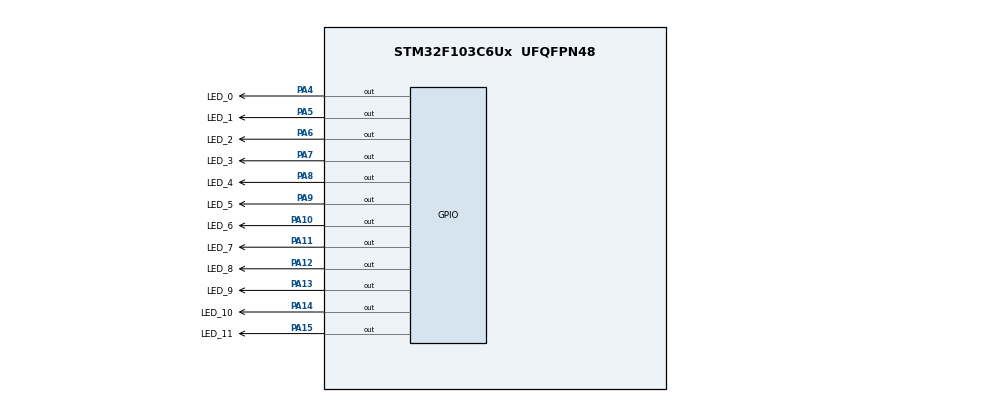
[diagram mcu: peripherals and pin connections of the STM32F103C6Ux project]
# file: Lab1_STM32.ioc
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Mcu.Family=STM32F1
Mcu.Name=STM32F103C6Ux
Mcu.Package=UFQFPN48
NVIC.PriorityGroup=NVIC_PRIORITYGROUP_4
NVIC.TIM2_IRQn=true\:0\:0\:false\:false\:true\:true\:true
PA10.GPIO_Label=LED_6
PA10.Signal=GPIO_Output
PA11.GPIO_Label=LED_7
PA11.Signal=GPIO_Output
PA12.GPIO_Label=LED_8
PA12.Signal=GPIO_Output
PA13.GPIO_Label=LED_9
PA13.Signal=GPIO_Output
PA14.GPIO_Label=LED_10
PA14.Signal=GPIO_Output
PA15.GPIO_Label=LED_11
PA15.Signal=GPIO_Output
PA4.GPIO_Label=LED_0
PA4.Signal=GPIO_Output
PA5.GPIO_Label=LED_1
PA5.Signal=GPIO_Output
PA6.GPIO_Label=LED_2
PA6.Signal=GPIO_Output
PA7.GPIO_Label=LED_3
PA7.Signal=GPIO_Output
PA8.GPIO_Label=LED_4
PA8.Signal=GPIO_Output
PA9.GPIO_Label=LED_5
PA9.Signal=GPIO_Output
ProjectManager.HeapSize=0x200
ProjectManager.StackSize=0x400
ProjectManager.TargetToolchain=STM32CubeIDE
RCC.APB1Freq_Value=8000000
RCC.APB2Freq_Value=8000000
TIM2.Period=9
TIM2.Prescaler=7999
VP_SYS_VS_ND.Mode=No_Debug
VP_TIM2_VS_ClockSourceINT.Mode=Internal
board=custom

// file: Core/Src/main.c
/* USER CODE BEGIN Header */
/**
  ******************************************************************************
  * @file           : main.c
  * @brief          : Main program body
  ******************************************************************************
  * @attention
  *
  * <h2><center>&copy; Copyright (c) 2024 STMicroelectronics.
  * All rights reserved.</center></h2>
  *
  * This software component is licensed by ST under BSD 3-Clause license,
  * the "License"; You may not use this file except in compliance with the
  * License. You may obtain a copy of the License at:
  *                        opensource.org/licenses/BSD-3-Clause
  *
  ******************************************************************************
  */
/* USER CODE END Header */
#include "main.h"

/* USER CODE BEGIN Includes */
#include "clock_function.h"
#include "software_timer.h"
/* USER CODE END Includes */

/* USER CODE BEGIN PD */
#define duration 1
/* USER CODE END PD */

TIM_HandleTypeDef htim2;

void SystemClock_Config(void);
static void MX_GPIO_Init(void);
static void MX_TIM2_Init(void);

int main(void)
{

  /* MCU Configuration--------------------------------------------------------*/

  /* Reset of all peripherals, Initializes the Flash interface and the Systick. */
  HAL_Init();

  /* Configure the system clock */
  SystemClock_Config();

  /* Initialize all configured peripherals */
  MX_GPIO_Init();
  MX_TIM2_Init();
  /* USER CODE BEGIN 2 */
  int currentSecond = 0;
  int currentMinute = 0;
  int currentHour = 0;
  setTimer0(duration);
  /* USER CODE END 2 */

  /* Infinite loop */
  /* USER CODE BEGIN WHILE */
  while (1)
  {
	  if (timer0_flag == 1) {
		  currentSecond ++;
		  if (currentSecond >= 60) {
			  currentSecond = 0;
			  currentMinute ++;
		  }
		  if (currentMinute >= 60) {
			  currentMinute = 0;
			  currentHour ++;
		  }
		  if (currentHour >= 12) {
			  currentHour = 0;
		  }
		  setTimer0(duration);
	  }
	  clearAllClock();
	  setNumberOnClock(currentSecond / 5);
	  setNumberOnClock(currentMinute / 5);
	  setNumberOnClock(currentHour);
	  runTimer();
	  HAL_Delay(1000);
    /* USER CODE END WHILE */

  }
}

void SystemClock_Config(void)
{
  RCC_OscInitTypeDef RCC_OscInitStruct = {0};
  RCC_ClkInitTypeDef RCC_ClkInitStruct = {0};

  /** Initializes the RCC Oscillators according to the specified parameters
  * in the RCC_OscInitTypeDef structure.
  */
  RCC_OscInitStruct.OscillatorType = RCC_OSCILLATORTYPE_HSI;
  RCC_OscInitStruct.HSIState = RCC_HSI_ON;
  RCC_OscInitStruct.HSICalibrationValue = RCC_HSICALIBRATION_DEFAULT;
  RCC_OscInitStruct.PLL.PLLState = RCC_PLL_NONE;
  if (HAL_RCC_OscConfig(&RCC_OscInitStruct) != HAL_OK)
  {
    Error_Handler();
  }
  /** Initializes the CPU, AHB and APB buses clocks
  */
  RCC_ClkInitStruct.ClockType = RCC_CLOCKTYPE_HCLK|RCC_CLOCKTYPE_SYSCLK
                              |RCC_CLOCKTYPE_PCLK1|RCC_CLOCKTYPE_PCLK2;
  RCC_ClkInitStruct.SYSCLKSource = RCC_SYSCLKSOURCE_HSI;
  RCC_ClkInitStruct.AHBCLKDivider = RCC_SYSCLK_DIV1;
  RCC_ClkInitStruct.APB1CLKDivider = RCC_HCLK_DIV1;
  RCC_ClkInitStruct.APB2CLKDivider = RCC_HCLK_DIV1;

  if (HAL_RCC_ClockConfig(&RCC_ClkInitStruct, FLASH_LATENCY_0) != HAL_OK)
  {
    Error_Handler();
  }
}

static void MX_TIM2_Init(void)
{

  TIM_ClockConfigTypeDef sClockSourceConfig = {0};
  TIM_MasterConfigTypeDef sMasterConfig = {0};

  htim2.Instance = TIM2;
  htim2.Init.Prescaler = 7999;
  htim2.Init.CounterMode = TIM_COUNTERMODE_UP;
  htim2.Init.Period = 9;
  htim2.Init.ClockDivision = TIM_CLOCKDIVISION_DIV1;
  htim2.Init.AutoReloadPreload = TIM_AUTORELOAD_PRELOAD_DISABLE;
  if (HAL_TIM_Base_Init(&htim2) != HAL_OK)
  {
    Error_Handler();
  }
  sClockSourceConfig.ClockSource = TIM_CLOCKSOURCE_INTERNAL;
  if (HAL_TIM_ConfigClockSource(&htim2, &sClockSourceConfig) != HAL_OK)
  {
    Error_Handler();
  }
  sMasterConfig.MasterOutputTrigger = TIM_TRGO_RESET;
  sMasterConfig.MasterSlaveMode = TIM_MASTERSLAVEMODE_DISABLE;
  if (HAL_TIMEx_MasterConfigSynchronization(&htim2, &sMasterConfig) != HAL_OK)
  {
    Error_Handler();
  }

}

static void MX_GPIO_Init(void)
{
  GPIO_InitTypeDef GPIO_InitStruct = {0};

  /* GPIO Ports Clock Enable */
  __HAL_RCC_GPIOA_CLK_ENABLE();

  /*Configure GPIO pin Output Level */
  HAL_GPIO_WritePin(GPIOA, LED_0_Pin|LED_1_Pin|LED_2_Pin|LED_3_Pin
                          |LED_4_Pin|LED_5_Pin|LED_6_Pin|LED_7_Pin
                          |LED_8_Pin|LED_9_Pin|LED_10_Pin|LED_11_Pin, GPIO_PIN_RESET);

  /*Configure GPIO pins : LED_0_Pin LED_1_Pin LED_2_Pin LED_3_Pin
                           LED_4_Pin LED_5_Pin LED_6_Pin LED_7_Pin
                           LED_8_Pin LED_9_Pin LED_10_Pin LED_11_Pin */
  GPIO_InitStruct.Pin = LED_0_Pin|LED_1_Pin|LED_2_Pin|LED_3_Pin
                          |LED_4_Pin|LED_5_Pin|LED_6_Pin|LED_7_Pin
                          |LED_8_Pin|LED_9_Pin|LED_10_Pin|LED_11_Pin;
  GPIO_InitStruct.Mode = GPIO_MODE_OUTPUT_PP;
  GPIO_InitStruct.Pull = GPIO_NOPULL;
  GPIO_InitStruct.Speed = GPIO_SPEED_FREQ_LOW;
  HAL_GPIO_Init(GPIOA, &GPIO_InitStruct);

}

void Error_Handler(void)
{
  __disable_irq();
  while (1)
  {
  }
}

/************************ (C) COPYRIGHT STMicroelectronics *****END OF FILE****/
